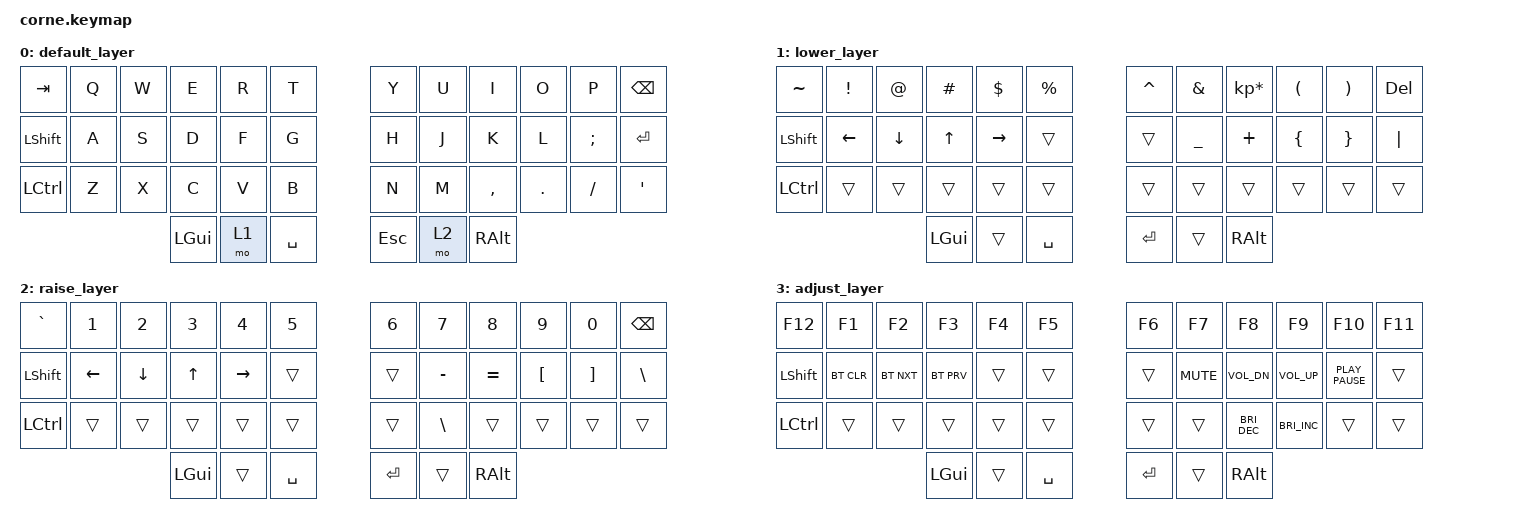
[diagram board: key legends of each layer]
/*
 * Copyright (c) 2020 The ZMK Contributors
 *
 * SPDX-License-Identifier: MIT
 */

#include <behaviors.dtsi>
#include <dt-bindings/zmk/keys.h>  // https://github.com/zmkfirmware/zmk/blob/main/app/include/dt-bindings/zmk/keys.h
#include <dt-bindings/zmk/bt.h>  // https://github.com/zmkfirmware/zmk/blob/main/app/include/dt-bindings/zmk/bt.h


/ {
        conditional_layers {
                compatible = "zmk,conditional-layers";
                tri_layer {
                        if-layers = <1 2>;
                        then-layer = <3>;
                };
        };

        keymap {
                compatible = "zmk,keymap";

                default_layer {
                      /*--------------------------
                         q w e r t   y u i o p 
                        ⇧ a s d f g   h j k l ; ⎆
                        ⎈ z x c v b   n m , . / '
                               ⟱ ␠   ␛ ⟰ ⎇
                       -------------------------*/
                        bindings = <
   &kp TAB   &kp Q &kp W &kp E &kp R &kp T   &kp Y &kp U  &kp I     &kp O   &kp P    &kp BSPC
   &kp LSHFT &kp A &kp S &kp D &kp F &kp G   &kp H &kp J  &kp K     &kp L   &kp SEMI &kp RET
   &kp LCTRL &kp Z &kp X &kp C &kp V &kp B   &kp N &kp M  &kp COMMA &kp DOT &kp FSLH &kp SQT
                  &kp LGUI &mo 1 &kp SPACE   &kp ESC &mo 2 &kp RALT
                        >;
                };

                lower_layer {
                      /*------------------------------------
                           ~ ! @ # $ %    ^ & * ( ) ␡
                           ⇧ ← ↓ ↑ →        _ + { } |
                           ⎈                        
                                  ⟱ ␠    ␛ ⟰ ⎇
                       ------------------------------------*/
                        bindings = <
   &kp TILDE  &kp EXCL &kp AT   &kp HASH &kp DLLR  &kp PRCNT      &kp CARET &kp AMPS  &kp KP_MULTIPLY &kp LPAR &kp RPAR &kp DELETE
   &kp LSHFT  &kp LEFT &kp DOWN &kp UP   &kp RIGHT &trans         &trans    &kp UNDER &kp PLUS        &kp LBRC &kp RBRC &kp PIPE
   &kp LCTRL  &trans   &trans   &trans   &trans    &trans         &trans    &trans    &trans          &trans   &trans   &trans
                          	    &kp LGUI &trans    &kp SPACE      &kp RET   &trans    &kp RALT
                        >;
                };

                raise_layer {
                      /*------------------------------------
                           ` 1 2 3 4 5    6 7 8 9 0 
                           ⇧ ← ↓ ↑ →        - = [ ] \ 
                           ⎈                \                 ==> maybe remove these?
                                  ⟱ ␠    ␛ ⟰ ⎇
                       ------------------------------------*/
                        bindings = <
   &kp GRAVE &kp N1   &kp N2   &kp N3   &kp N4    &kp N5    &kp N6      &kp N7    &kp N8    &kp N9   &kp N0   &kp BSPC
   &kp LSHFT &kp LEFT &kp DOWN &kp UP   &kp RIGHT &trans    &trans      &kp MINUS &kp EQUAL &kp LBKT &kp RBKT &kp BSLH
   &kp LCTRL &trans   &trans   &trans   &trans    &trans    &trans      &kp BSLH  &trans    &trans   &trans   &trans          
                               &kp LGUI &trans    &kp SPACE &kp RET     &trans    &kp RALT
                      >;
                };

                adjust_layer {
                      /*------------------------------------
                           F12 F1 F2 F3 F4 F5    F6 F7 F8 F9 F10 F11
                           ⇧        → ←                
                           ⎈                             
                                       ⟱  ␠     ␛  ⟰  ⎇
                       ------------------------------------*/
                        bindings = <
   &kp F12   &kp F1     &kp F2     &kp F3     &kp F4 &kp F5            &kp F6  &kp F7     &kp F8        &kp F9        &kp F10          &kp F11
   &kp LSHFT &bt BT_CLR &bt BT_NXT &bt BT_PRV &trans &trans            &trans  &kp K_MUTE &kp K_VOL_DN  &kp K_VOL_UP  &kp K_PLAY_PAUSE &trans
   &kp LCTRL &trans     &trans     &trans     &trans &trans            &trans  &trans     &kp C_BRI_DEC &kp C_BRI_INC &trans           &trans
                                   &kp LGUI   &trans &kp SPACE         &kp RET &trans &kp RALT
                      >;
                };
        };
};
